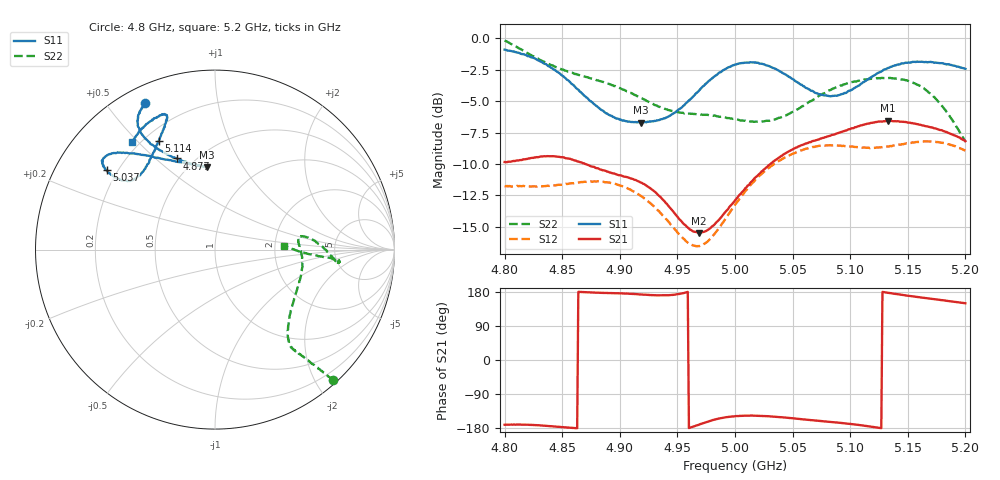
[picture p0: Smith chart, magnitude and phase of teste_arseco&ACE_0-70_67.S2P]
! Network Analyzer HP8722D
! Hewlett-Packard
! Data name: Linha & Wilkinson
! Saver's name: Rodrigo Anjos
! Comments: Teste da utilização de aquisição
! continua pelo VNA HP8722D
! Time and date: 8/5/2025 13:19
!  Frequency  S11  S21  S12  S22
# HZ  S  MA R 50
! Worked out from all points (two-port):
!   401 points, 4.8 GHz to 5.2 GHz, reference 50 ohm
!   highest |S21| = -6.56 dB at 5.133 GHz (marker M1); lowest = -15.5 dB at 4.969 GHz (marker M2)
!   |S21| within 3 dB of the highest: 4.821 GHz to 4.854 GHz (33.72 MHz wide, 0.697 % of centre); 5.037 GHz to end of sweep
!   lowest |S11| = -6.7 dB at 4.918 GHz (marker M3), VSWR 2.72, Z = 30.1 + j35.2 ohm
!   |S11| at or under -10 dB: nowhere
!   |S22| runs from -8.2 to -0.2 dB; largest |S21 - S12| = 0.83
!   S11 on the Smith chart (normalised r, x): 4.8 GHz: 0.07, +0.63; 4.877 GHz: 0.40, +0.59; 5.037 GHz: 0.16, +0.32; 5.114 GHz: 0.26, +0.58; 5.2 GHz: 0.17, +0.48
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4.8e9  0.9028 115.5  0.3222 -170.8  0.2582 -86.2  0.9817 -47.8
4.832e9  0.8078 122.0  0.339 -172.8  0.2579 -77.8  0.8164 -49.8
4.849e9  0.7171 121.8  0.3368 -176.9  0.2613 -72.2  0.7553 -50.8
4.867e9  0.6059 117.5  0.3206 179.2  0.2679 -67.8  0.7118 -51.7
4.877e9  0.5508 112.8  0.3085 178.0  0.2694 -66.9  0.6891 -52.1
4.901e9  0.4753 100.2  0.2848 175.9  0.2591 -67.5  0.6316 -50.1
4.918e9  0.4625 95.7  0.2671 173.1  0.2364 -69.3  0.5802 -45.0
4.934e9  0.4727 99.5  0.2363 170.5  0.2055 -69.9  0.5343 -36.9
4.958e9  0.5547 116.1  0.1783 178.8  0.1552 -58.9  0.5024 -21.2
4.969e9  0.6221 123.7  0.1682 -170.2  0.1491 -46.6  0.4988 -14.6
4.98e9  0.6926 129.6  0.1785 -159.0  0.1619 -34.3  0.4929 -8.9
5e9  0.7867 137.1  0.2262 -148.4  0.2177 -21.7  0.477 -0.2
5.018e9  0.8021 141.5  0.2802 -147.0  0.275 -18.8  0.4667 5.9
5.037e9  0.7485 143.8  0.3323 -150.3  0.3232 -19.0  0.4806 8.8
5.067e9  0.6185 141.8  0.39 -158.9  0.3695 -21.3  0.5664 4.1
5.088e9  0.5915 132.4  0.4182 -164.7  0.3751 -24.5  0.6394 -2.4
5.114e9  0.6812 117.5  0.4564 -174.0  0.3672 -27.3  0.6873 -6.0
5.133e9  0.7632 111.0  0.4701 177.2  0.3712 -29.2  0.6956 -5.4
5.134e9  0.7656 110.7  0.4682 176.9  0.372 -29.5  0.6957 -5.5
5.161e9  0.807 112.0  0.4536 165.3  0.3885 -35.9  0.6462 -4.0
5.179e9  0.7974 118.5  0.4317 158.1  0.3846 -41.6  0.5439 -3.0
5.2e9  0.7565 127.4  0.3901 149.7  0.3575 -47.2  0.3876 3.3
